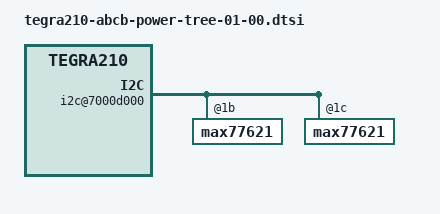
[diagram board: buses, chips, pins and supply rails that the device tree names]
/*
 * Copyright (c) 2014-2016, NVIDIA CORPORATION.  All rights reserved.
 *
 * This program is free software; you can redistribute it and/or modify
 * it under the terms of the GNU General Public License as published by
 * the Free Software Foundation; either version 2 of the License, or
 * (at your option) any later version.
 *
 * This program is distributed in the hope that it will be useful, but WITHOUT
 * ANY WARRANTY; without even the implied warranty of MERCHANTABILITY or
 * FITNESS FOR A PARTICULAR PURPOSE.  See the GNU General Public License for
 * more details.
 *
 * You should have received a copy of the GNU General Public License along
 * along with this program. If not, see <http://www.gnu.org/licenses/>.
 */

#include "tegra210-abcb-pmic-01-00.dtsi"
#include "tegra210-abcb-power-fixed-01-00.dtsi"
#include <t210-common-platforms/tegra210-ers-power-dvfs-e2174-1101-a00.dtsi>

/ {

	dfll-ovr@70110000 {
		status = "disabled";
	};

	dfll-max77621@70110000 {
		status = "disabled";
	};

	pwm_regulators {
		pwm-regulator@0 {
			status = "disabled";
		};

		pwm-regulator@1 {
			status = "disabled";
		};
	};

	i2c@7000d000 {
		max77621@1b {
			status = "okay";
		};

		max77621@1c {
			status = "okay";
		};
	};

	dvfs_rails {
		vdd-cpu-rail-ovr@0 {
			status = "disabled";
		};

		vdd-gpu-rail-ovr@1 {
			status = "disabled";
		};

		vdd-cpu-rail-max77621@2 {
			status = "okay";
		};

		vdd-gpu-rail-max77621@3 {
			status = "okay";
		};
	};

	cpuidle {
		vdd-cpu-supply = <&cpu_max77621_reg>;
		cc4-microvolt = <606250>;
	};

	dummy_cool_dev: dummy-cool-dev {
		compatible = "dummy-cooling-dev";
		#cooling-cells = <2>; /* min followed by max */
	};

	thermal-zones {
		PMIC-Die {
			polling-delay = <0>; /* milliseconds */
			polling-delay-passive = <0>; /* milliseconds */

			thermal-sensors = <&max77620>;
			trips {
				die_temp_thresh: hot-die {
					temperature = <120000>;
					type = "active";
					hysteresis = <0>;
				};
			};

			cooling-maps {
				map0 {
					trip = <&die_temp_thresh>;
					cooling-device = <&dummy_cool_dev THERMAL_NO_LIMIT
								THERMAL_NO_LIMIT>;
					contribution = <100>;
					cdev-type = "emergency-balanced";
				};
			};
		};
	};

	i2c@546c0000 {
		bus-pullup-supply = <&battery_reg>;
	};

	efuse@7000f800 {
		vpp_fuse-supply = <&max77620_sd3>;
	};

	host1x {
		/* tegradc.0 */
		dc@54200000 {
			avdd_hdmi-supply = <&max77620_ldo8>;    /* 1V05 */
			avdd_hdmi_pll-supply = <&max77620_sd3>; /* 1V8 */
			vdd_hdmi_5v0-supply = <&vdd_hdmi>;
			/* dp */
			vdd-dp-pwr-supply = <&vdd_3v3>;
			avdd-dp-pll-supply = <&max77620_sd3>;
			vdd-dp-pad-supply = <&max77620_ldo8>;
		};

		/* tegradc.1 */
		dc@54240000 {
			avdd_dsi_csi-supply = <&max77620_gpio7>;
			pavdd_lcd-supply = <&v_pavdd_5v0>;
			navdd_lcd-supply = <&v_navdd_5v0>;
			dvdd_lcd-supply = <&max77620_sd3>;
			vdd_lcd_bl_en-supply = <&lcd_bl_en>;
		};

		vi {
			avdd_dsi_csi-supply = <&max77620_gpio7>;
		};
	};

	sound {
		spkvdd-supply = <&battery_reg>;
		dbvdd-supply = <&max77620_sd3>;
		avdd-supply = <&max77620_sd3>;
	};

	pmc-iopower {
		iopower-sys-supply = <&max77620_sd3>;
		iopower-uart-supply = <&max77620_sd3>;
		iopower-audio-supply = <&max77620_sd3>;
		iopower-cam-supply = <&max77620_sd3>;
		iopower-pex-ctrl-supply = <&max77620_sd3>;
		iopower-sdmmc1-supply = <&max77620_ldo2>;
		iopower-sdmmc3-supply = <&max77620_sd3>;
		iopower-sdmmc4-supply = <&max77620_sd3>;
		iopower-audio-hv-supply = <&max77620_sd3>;
		iopower-debug-supply = <&max77620_sd3>;
		iopower-dbg-supply = <&max77620_sd3>;
		iopower-dmic-supply = <&max77620_sd3>;
		iopower-gpio-supply = <&max77620_sd3>;
		iopower-spi-supply = <&max77620_sd3>;
		iopower-spi-hv-supply = <&max77620_sd3>;
		iopower-sdmmc2-supply = <&max77620_sd3>;
		iopower-dp-supply = <&max77620_sd3>;
	};

	udc@7d000000 {
		avdd_usb-supply = <&vdd_3v3>;
		avdd_pll_utmip-supply = <&max77620_sd3>;
		usb_bat_chg-supply = <&battery_charger>;
	};

	usb_cd@7009f000 {
		usb_bat_chg-supply = <&battery_charger>;
	};

	ehci@7d000000 {
		avdd_usb-supply = <&vdd_3v3>;
		avdd_pll_utmip-supply = <&max77620_sd3>;
	};

	xusb@70090000 {
		usb_vbus0-supply = <&battery_reg>;
		usb_vbus1-supply = <&battery_reg>;
		usb_vbus2-supply = <&battery_reg>;
		usb_vbus3-supply = <&battery_reg>;
		hvdd_usb-supply = <&vdd_3v3>;
		avdd_pll_utmip-supply = <&max77620_sd3>;
		vddio_hsic-supply = <&max77620_ldo0>;
		avddio_usb-supply = <&max77620_ldo1>;
		dvdd_sata-supply = <&max77620_ldo8>;
		avddio_pll_uerefe-supply = <&max77620_ldo7>;
	};

	xudc@700d0000 {
		hvdd_usb-supply = <&vdd_3v3>;
		avdd_pll_utmip-supply = <&max77620_sd3>;
		avddio_usb-supply = <&max77620_ldo1>;
		avddio_pll_uerefe-supply = <&max77620_ldo7>;
        };

	xotg {
		usb_vbus-supply = <&battery_reg>;
	};

	pinctrl@7009f000 {
		vbus-0-supply = <&battery_reg>;
		vbus-1-supply = <&battery_reg>;
		vbus-2-supply = <&battery_reg>;
		vbus-3-supply = <&battery_reg>;
		vddio-hsic-supply = <&max77620_ldo0>;
		avdd_pll_uerefe-supply = <&max77620_ldo7>;
		hvdd_pex_pll_e-supply = <&max77620_sd3>;
		dvdd_pex_pll-supply = <&max77620_ldo1>;
		hvddio_pex-supply = <&max77620_sd3>;
		dvddio_pex-supply = <&max77620_ldo1>;
		hvdd_sata-supply = <&max77620_sd3>;
		dvdd_sata_pll-supply = <&max77620_ldo8>;
		hvddio_sata-supply = <&max77620_sd3>;
		dvddio_sata-supply = <&max77620_ldo8>;
	};

	otg@7d000000 {
		usb_vbus-supply = <&battery_reg>;
		usb_bat_chg-supply = <&battery_charger>;
	};

	sdhci@700b0600 {
		vqmmc-supply = <&max77620_sd3>;
		vmmc-supply = <&vdd_3v3>;
	};

	sdhci@700b0400 {
		vqmmc-supply = <&max77620_sd3>;
		vmmc-supply = <&vdd_3v3>;
	};

	sdhci@700b0200 {
		vqmmc-supply = <&max77620_sd3>;
		vmmc-supply = <&vdd_3v3>;
	};

	sdhci@700b0000 {
		vqmmc-supply = <&max77620_ldo2>;
		vmmc-supply = <&en_vdd_sd>;
	};

	sata@70020000 {
		hvdd_sata-supply = <&max77620_sd3>;
		hvdd_pex_pll_e-supply = <&max77620_sd3>;
		l0_hvddio_sata-supply = <&max77620_sd3>;
		l0_dvddio_sata-supply = <&max77620_ldo8>;
		dvdd_sata_pll-supply = <&max77620_ldo8>;
	};

	bluedroid_pm {
		avdd-supply = <&battery_reg>;
		dvdd-supply = <&max77620_sd3>;
	};
};
